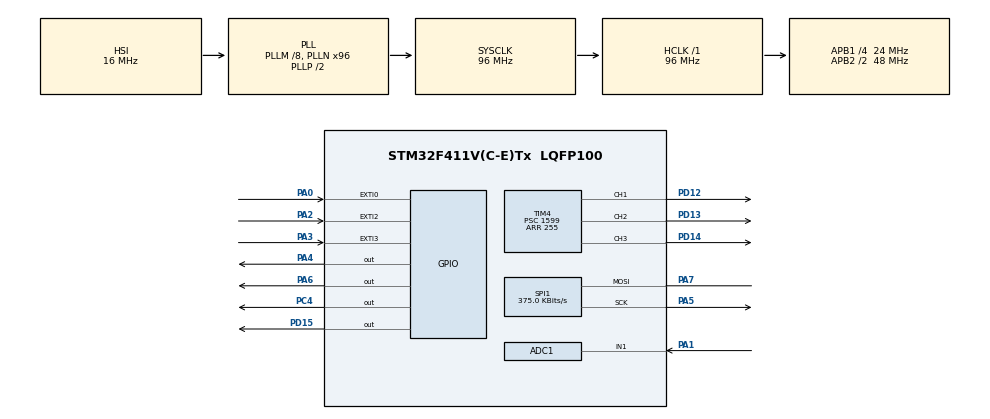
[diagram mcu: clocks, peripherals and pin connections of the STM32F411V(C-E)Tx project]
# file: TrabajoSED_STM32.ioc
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ADC1.Channel-0\#ChannelRegularConversion=ADC_CHANNEL_1
ADC1.NbrOfConversionFlag=1
ADC1.Rank-0\#ChannelRegularConversion=1
ADC1.Resolution=ADC_RESOLUTION_10B
ADC1.SamplingTime-0\#ChannelRegularConversion=ADC_SAMPLETIME_3CYCLES
ADC1.master=1
Mcu.Family=STM32F4
Mcu.Name=STM32F411V(C-E)Tx
Mcu.Package=LQFP100
NVIC.EXTI0_IRQn=true\:0\:0\:false\:false\:true\:true\:true\:true
NVIC.EXTI2_IRQn=true\:0\:0\:false\:false\:true\:true\:true\:true
NVIC.EXTI3_IRQn=true\:0\:0\:false\:false\:true\:true\:true\:true
NVIC.PriorityGroup=NVIC_PRIORITYGROUP_0
NVIC.RTC_Alarm_IRQn=true\:0\:0\:false\:false\:true\:true\:true\:true
NVIC.TIM3_IRQn=true\:0\:0\:false\:false\:true\:true\:true\:true
PA0-WKUP.Signal=GPXTI0
PA1.Signal=ADCx_IN1
PA2.Signal=GPXTI2
PA3.Signal=GPXTI3
PA4.Signal=GPIO_Output
PA5.Mode=Simplex_Bidirectional_Master
PA5.Signal=SPI1_SCK
PA6.Signal=GPIO_Output
PA7.Mode=Simplex_Bidirectional_Master
PA7.Signal=SPI1_MOSI
PC4.Signal=GPIO_Output
PD12.Signal=S_TIM4_CH1
PD13.Signal=S_TIM4_CH2
PD14.Signal=S_TIM4_CH3
PD15.Signal=GPIO_Output
ProjectManager.HeapSize=0x200
ProjectManager.StackSize=0x400
ProjectManager.TargetToolchain=STM32CubeIDE
RCC.48MHZClocksFreq_Value=24000000
RCC.AHBFreq_Value=96000000
RCC.APB1CLKDivider=RCC_HCLK_DIV4
RCC.APB1Freq_Value=24000000
RCC.APB1TimFreq_Value=48000000
RCC.APB2CLKDivider=RCC_HCLK_DIV2
RCC.APB2Freq_Value=48000000
RCC.APB2TimFreq_Value=96000000
RCC.CortexFreq_Value=96000000
RCC.HCLKFreq_Value=96000000
RCC.HSE_VALUE=8000000
RCC.HSI_VALUE=16000000
RCC.LSE_VALUE=32768
RCC.PLLI2SM=5
RCC.PLLI2SN=200
RCC.PLLM=8
RCC.PLLN=96
RCC.PLLQ=8
RCC.SYSCLKFreq_VALUE=96000000
RCC.SYSCLKSource=RCC_SYSCLKSOURCE_PLLCLK
RCC.VCOOutputFreq_Value=192000000
RTC.Alarm=RTC_ALARM_A
RTC.AlarmMaskDateWeekDay=RTC_ALARMMASK_DATEWEEKDAY
RTC.AlarmMaskSeconds=RTC_ALARMMASK_SECONDS
RTC.Format=RTC_FORMAT_BIN
SH.ADCx_IN1.0=ADC1_IN1,IN1
SH.S_TIM4_CH1.0=TIM4_CH1,PWM Generation1 CH1
SH.S_TIM4_CH2.0=TIM4_CH2,PWM Generation2 CH2
SH.S_TIM4_CH3.0=TIM4_CH3,PWM Generation3 CH3
SPI1.BaudRatePrescaler=SPI_BAUDRATEPRESCALER_128
SPI1.CalculateBaudRate=375.0 KBits/s
SPI1.Direction=SPI_DIRECTION_1LINE
SPI1.Mode=SPI_MODE_MASTER
SPI1.VirtualType=VM_MASTER
TIM3.Period=8000
TIM3.Prescaler=47999
TIM4.Channel-PWM\ Generation1\ CH1=TIM_CHANNEL_1
TIM4.Channel-PWM\ Generation2\ CH2=TIM_CHANNEL_2
TIM4.Channel-PWM\ Generation3\ CH3=TIM_CHANNEL_3
TIM4.Period=255
TIM4.Prescaler=1599
VP_RTC_VS_RTC_Activate.Mode=RTC_Enabled
VP_RTC_VS_RTC_Alarm_A_Intern.Mode=Alarm A
VP_RTC_VS_RTC_Calendar.Mode=RTC_Calendar
VP_TIM3_VS_ClockSourceINT.Mode=Internal
board=STM32F411E-DISCO

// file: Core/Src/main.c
/* USER CODE BEGIN Header */
/**
  ******************************************************************************
  * @file           : main.c
  * @brief          : Main program body
  ******************************************************************************
  * @attention
  *
  * Copyright (c) 2022 STMicroelectronics.
  * All rights reserved.
  *
  * This software is licensed under terms that can be found in the LICENSE file
  * in the root directory of this software component.
  * If no LICENSE file comes with this software, it is provided AS-IS.
  *
  ******************************************************************************
  */
/* USER CODE END Header */
#include "main.h"

/* USER CODE BEGIN Includes */
#include <string.h>
#include <stdio.h>
#include "st7735.h"
#include "fonts.h"
#include "testimg.h"
#include <malloc.h>
//#include "Menus.h"
/* USER CODE END Includes */

/* USER CODE BEGIN PTD */
RTC_TimeTypeDef sTime;
RTC_DateTypeDef sDate;
typedef enum {Manual = 0, Automatico_Humedad, Automatico_Tiempo} MODO;
typedef enum {Estado = 0, Modo_Actual, Cambio_Modo, Ajustes_Auto_Tiempo, Ajustes_Auto_Humedad} PANTALLA;
/* USER CODE END PTD */

/* USER CODE BEGIN PD */
#define ADC_HUMEDAD_MAX 850
#define ADC_HUMEDAD_MIN 735

//#define __DEBUG__
/* USER CODE END PD */

/* USER CODE BEGIN PM */
#define MIN(X, Y) (((X) < (Y)) ? (X) : (Y))
#define MAX(X, Y) (((X) > (Y)) ? (X) : (Y))
/* USER CODE END PM */

ADC_HandleTypeDef hadc1;

RTC_HandleTypeDef hrtc;

SPI_HandleTypeDef hspi1;

TIM_HandleTypeDef htim3;
TIM_HandleTypeDef htim4;

/* USER CODE BEGIN PV */
MODO modo;
PANTALLA pantalla;

uint8_t humedad_previa = 0;
uint8_t humedad = 0;

uint8_t humedad_minima = 40;
uint8_t humedad_maxima = 60;
uint8_t humedad_media = 50;

bool button0 = 0;
bool button1 = 0;
bool button2 = 0;
bool update_screen = 1;

bool isTimeToTurnOn = 1;

RTC_TimeTypeDef* alarmasON = 0;
RTC_TimeTypeDef* alarmasOFF = 0;

uint32_t num_alarmas = 0;
uint32_t siguiente_alarma = 0;
/* USER CODE END PV */

void SystemClock_Config(void);
static void MX_GPIO_Init(void);
static void MX_ADC1_Init(void);
static void MX_TIM4_Init(void);
static void MX_SPI1_Init(void);
static void MX_RTC_Init(void);
static void MX_TIM3_Init(void);
/* USER CODE BEGIN PFP */
void Led_Init();
uint8_t sensorHumedad();
void AbrirValvula();
void CerrarValvula();
void ControlAutomatico_Humedad();
void LED_ON_OFF(uint8_t humedad);
void WriteRGB(uint8_t R, uint8_t G, uint8_t B);

void modoHandler();
void menuHandler();

void printMenu_ModoActual();
void printMenu_CambioModo();

void printSeleccion(uint8_t altura);
void printAlarma(RTC_TimeTypeDef horaON, RTC_TimeTypeDef horaOFF, uint8_t altura);
void printCrearAlarma(uint8_t altura);
void printCambiarHora(uint8_t altura);
void printTime();
void printOK(uint8_t altura);
void printMenu_Estado();
void crearAlarma(RTC_TimeTypeDef* returnVal);
void CambiarHora();
void AjustarHumedad();

void nextAlarma();
/* USER CODE END PFP */

int main(void)
{

  /* MCU Configuration--------------------------------------------------------*/

  /* Reset of all peripherals, Initializes the Flash interface and the Systick. */
  HAL_Init();

  /* Configure the system clock */
  SystemClock_Config();

  /* Initialize all configured peripherals */
  MX_GPIO_Init();
  MX_ADC1_Init();
  MX_TIM4_Init();
  MX_SPI1_Init();
  MX_RTC_Init();
  MX_TIM3_Init();
  /* USER CODE BEGIN 2 */
  HAL_NVIC_DisableIRQ(RTC_Alarm_IRQn);
  HAL_TIM_Base_Start_IT(&htim3);
  Led_Init();
  ST7735_Init();
  printMenu_Estado();
  /* USER CODE END 2 */

  /* Infinite loop */
  /* USER CODE BEGIN WHILE */
  while (1)
  {
	  humedad = sensorHumedad();

	  modoHandler();
	  menuHandler();

	  LED_ON_OFF(humedad);
    /* USER CODE END WHILE */

  }
}

void SystemClock_Config(void)
{
  RCC_OscInitTypeDef RCC_OscInitStruct = {0};
  RCC_ClkInitTypeDef RCC_ClkInitStruct = {0};

  /** Configure the main internal regulator output voltage
  */
  __HAL_RCC_PWR_CLK_ENABLE();
  __HAL_PWR_VOLTAGESCALING_CONFIG(PWR_REGULATOR_VOLTAGE_SCALE1);

  /** Initializes the RCC Oscillators according to the specified parameters
  * in the RCC_OscInitTypeDef structure.
  */
  RCC_OscInitStruct.OscillatorType = RCC_OSCILLATORTYPE_HSI|RCC_OSCILLATORTYPE_LSI;
  RCC_OscInitStruct.HSIState = RCC_HSI_ON;
  RCC_OscInitStruct.HSICalibrationValue = RCC_HSICALIBRATION_DEFAULT;
  RCC_OscInitStruct.LSIState = RCC_LSI_ON;
  RCC_OscInitStruct.PLL.PLLState = RCC_PLL_ON;
  RCC_OscInitStruct.PLL.PLLSource = RCC_PLLSOURCE_HSI;
  RCC_OscInitStruct.PLL.PLLM = 8;
  RCC_OscInitStruct.PLL.PLLN = 96;
  RCC_OscInitStruct.PLL.PLLP = RCC_PLLP_DIV2;
  RCC_OscInitStruct.PLL.PLLQ = 8;
  if (HAL_RCC_OscConfig(&RCC_OscInitStruct) != HAL_OK)
  {
    Error_Handler();
  }

  /** Initializes the CPU, AHB and APB buses clocks
  */
  RCC_ClkInitStruct.ClockType = RCC_CLOCKTYPE_HCLK|RCC_CLOCKTYPE_SYSCLK
                              |RCC_CLOCKTYPE_PCLK1|RCC_CLOCKTYPE_PCLK2;
  RCC_ClkInitStruct.SYSCLKSource = RCC_SYSCLKSOURCE_PLLCLK;
  RCC_ClkInitStruct.AHBCLKDivider = RCC_SYSCLK_DIV1;
  RCC_ClkInitStruct.APB1CLKDivider = RCC_HCLK_DIV4;
  RCC_ClkInitStruct.APB2CLKDivider = RCC_HCLK_DIV2;

  if (HAL_RCC_ClockConfig(&RCC_ClkInitStruct, FLASH_LATENCY_3) != HAL_OK)
  {
    Error_Handler();
  }
}

static void MX_ADC1_Init(void)
{

  ADC_ChannelConfTypeDef sConfig = {0};

  /** Configure the global features of the ADC (Clock, Resolution, Data Alignment and number of conversion)
  */
  hadc1.Instance = ADC1;
  hadc1.Init.ClockPrescaler = ADC_CLOCK_SYNC_PCLK_DIV2;
  hadc1.Init.Resolution = ADC_RESOLUTION_10B;
  hadc1.Init.ScanConvMode = DISABLE;
  hadc1.Init.ContinuousConvMode = DISABLE;
  hadc1.Init.DiscontinuousConvMode = DISABLE;
  hadc1.Init.ExternalTrigConvEdge = ADC_EXTERNALTRIGCONVEDGE_NONE;
  hadc1.Init.ExternalTrigConv = ADC_SOFTWARE_START;
  hadc1.Init.DataAlign = ADC_DATAALIGN_RIGHT;
  hadc1.Init.NbrOfConversion = 1;
  hadc1.Init.DMAContinuousRequests = DISABLE;
  hadc1.Init.EOCSelection = ADC_EOC_SINGLE_CONV;
  if (HAL_ADC_Init(&hadc1) != HAL_OK)
  {
    Error_Handler();
  }

  /** Configure for the selected ADC regular channel its corresponding rank in the sequencer and its sample time.
  */
  sConfig.Channel = ADC_CHANNEL_1;
  sConfig.Rank = 1;
  sConfig.SamplingTime = ADC_SAMPLETIME_3CYCLES;
  if (HAL_ADC_ConfigChannel(&hadc1, &sConfig) != HAL_OK)
  {
    Error_Handler();
  }

}

static void MX_RTC_Init(void)
{

  RTC_TimeTypeDef sTime = {0};
  RTC_DateTypeDef sDate = {0};
  RTC_AlarmTypeDef sAlarm = {0};

  /** Initialize RTC Only
  */
  hrtc.Instance = RTC;
  hrtc.Init.HourFormat = RTC_HOURFORMAT_24;
  hrtc.Init.AsynchPrediv = 127;
  hrtc.Init.SynchPrediv = 255;
  hrtc.Init.OutPut = RTC_OUTPUT_DISABLE;
  hrtc.Init.OutPutPolarity = RTC_OUTPUT_POLARITY_HIGH;
  hrtc.Init.OutPutType = RTC_OUTPUT_TYPE_OPENDRAIN;
  if (HAL_RTC_Init(&hrtc) != HAL_OK)
  {
    Error_Handler();
  }

  /** Initialize RTC and set the Time and Date
  */
  sTime.Hours = 0;
  sTime.Minutes = 0;
  sTime.Seconds = 0;
  sTime.DayLightSaving = RTC_DAYLIGHTSAVING_NONE;
  sTime.StoreOperation = RTC_STOREOPERATION_RESET;
  if (HAL_RTC_SetTime(&hrtc, &sTime, RTC_FORMAT_BIN) != HAL_OK)
  {
    Error_Handler();
  }
  sDate.WeekDay = RTC_WEEKDAY_MONDAY;
  sDate.Month = RTC_MONTH_JANUARY;
  sDate.Date = 1;
  sDate.Year = 0;

  if (HAL_RTC_SetDate(&hrtc, &sDate, RTC_FORMAT_BIN) != HAL_OK)
  {
    Error_Handler();
  }

  /** Enable the Alarm A
  */
  sAlarm.AlarmTime.Hours = 0;
  sAlarm.AlarmTime.Minutes = 0;
  sAlarm.AlarmTime.Seconds = 0;
  sAlarm.AlarmTime.SubSeconds = 0;
  sAlarm.AlarmTime.DayLightSaving = RTC_DAYLIGHTSAVING_NONE;
  sAlarm.AlarmTime.StoreOperation = RTC_STOREOPERATION_RESET;
  sAlarm.AlarmMask = RTC_ALARMMASK_DATEWEEKDAY|RTC_ALARMMASK_SECONDS;
  sAlarm.AlarmSubSecondMask = RTC_ALARMSUBSECONDMASK_ALL;
  sAlarm.AlarmDateWeekDaySel = RTC_ALARMDATEWEEKDAYSEL_DATE;
  sAlarm.AlarmDateWeekDay = 1;
  sAlarm.Alarm = RTC_ALARM_A;
  if (HAL_RTC_SetAlarm_IT(&hrtc, &sAlarm, RTC_FORMAT_BIN) != HAL_OK)
  {
    Error_Handler();
  }

}

static void MX_SPI1_Init(void)
{

  /* SPI1 parameter configuration*/
  hspi1.Instance = SPI1;
  hspi1.Init.Mode = SPI_MODE_MASTER;
  hspi1.Init.Direction = SPI_DIRECTION_1LINE;
  hspi1.Init.DataSize = SPI_DATASIZE_8BIT;
  hspi1.Init.CLKPolarity = SPI_POLARITY_LOW;
  hspi1.Init.CLKPhase = SPI_PHASE_1EDGE;
  hspi1.Init.NSS = SPI_NSS_SOFT;
  hspi1.Init.BaudRatePrescaler = SPI_BAUDRATEPRESCALER_128;
  hspi1.Init.FirstBit = SPI_FIRSTBIT_MSB;
  hspi1.Init.TIMode = SPI_TIMODE_DISABLE;
  hspi1.Init.CRCCalculation = SPI_CRCCALCULATION_DISABLE;
  hspi1.Init.CRCPolynomial = 10;
  if (HAL_SPI_Init(&hspi1) != HAL_OK)
  {
    Error_Handler();
  }

}

static void MX_TIM3_Init(void)
{

  TIM_ClockConfigTypeDef sClockSourceConfig = {0};
  TIM_MasterConfigTypeDef sMasterConfig = {0};

  htim3.Instance = TIM3;
  htim3.Init.Prescaler = 47999;
  htim3.Init.CounterMode = TIM_COUNTERMODE_UP;
  htim3.Init.Period = 8000;
  htim3.Init.ClockDivision = TIM_CLOCKDIVISION_DIV1;
  htim3.Init.AutoReloadPreload = TIM_AUTORELOAD_PRELOAD_DISABLE;
  if (HAL_TIM_Base_Init(&htim3) != HAL_OK)
  {
    Error_Handler();
  }
  sClockSourceConfig.ClockSource = TIM_CLOCKSOURCE_INTERNAL;
  if (HAL_TIM_ConfigClockSource(&htim3, &sClockSourceConfig) != HAL_OK)
  {
    Error_Handler();
  }
  sMasterConfig.MasterOutputTrigger = TIM_TRGO_RESET;
  sMasterConfig.MasterSlaveMode = TIM_MASTERSLAVEMODE_DISABLE;
  if (HAL_TIMEx_MasterConfigSynchronization(&htim3, &sMasterConfig) != HAL_OK)
  {
    Error_Handler();
  }

}

static void MX_TIM4_Init(void)
{

  TIM_MasterConfigTypeDef sMasterConfig = {0};
  TIM_OC_InitTypeDef sConfigOC = {0};

  htim4.Instance = TIM4;
  htim4.Init.Prescaler = 1599;
  htim4.Init.CounterMode = TIM_COUNTERMODE_UP;
  htim4.Init.Period = 255;
  htim4.Init.ClockDivision = TIM_CLOCKDIVISION_DIV1;
  htim4.Init.AutoReloadPreload = TIM_AUTORELOAD_PRELOAD_DISABLE;
  if (HAL_TIM_PWM_Init(&htim4) != HAL_OK)
  {
    Error_Handler();
  }
  sMasterConfig.MasterOutputTrigger = TIM_TRGO_RESET;
  sMasterConfig.MasterSlaveMode = TIM_MASTERSLAVEMODE_DISABLE;
  if (HAL_TIMEx_MasterConfigSynchronization(&htim4, &sMasterConfig) != HAL_OK)
  {
    Error_Handler();
  }
  sConfigOC.OCMode = TIM_OCMODE_PWM1;
  sConfigOC.Pulse = 0;
  sConfigOC.OCPolarity = TIM_OCPOLARITY_HIGH;
  sConfigOC.OCFastMode = TIM_OCFAST_DISABLE;
  if (HAL_TIM_PWM_ConfigChannel(&htim4, &sConfigOC, TIM_CHANNEL_1) != HAL_OK)
  {
    Error_Handler();
  }
  if (HAL_TIM_PWM_ConfigChannel(&htim4, &sConfigOC, TIM_CHANNEL_2) != HAL_OK)
  {
    Error_Handler();
  }
  if (HAL_TIM_PWM_ConfigChannel(&htim4, &sConfigOC, TIM_CHANNEL_3) != HAL_OK)
  {
    Error_Handler();
  }
  HAL_TIM_MspPostInit(&htim4);

}

static void MX_GPIO_Init(void)
{
  GPIO_InitTypeDef GPIO_InitStruct = {0};

  /* GPIO Ports Clock Enable */
  __HAL_RCC_GPIOA_CLK_ENABLE();
  __HAL_RCC_GPIOC_CLK_ENABLE();
  __HAL_RCC_GPIOD_CLK_ENABLE();

  /*Configure GPIO pin Output Level */
  HAL_GPIO_WritePin(GPIOA, GPIO_PIN_4|GPIO_PIN_6, GPIO_PIN_RESET);

  /*Configure GPIO pin Output Level */
  HAL_GPIO_WritePin(GPIOC, GPIO_PIN_4, GPIO_PIN_RESET);

  /*Configure GPIO pin Output Level */
  HAL_GPIO_WritePin(GPIOD, GPIO_PIN_15, GPIO_PIN_RESET);

  /*Configure GPIO pins : PA0 PA2 PA3 */
  GPIO_InitStruct.Pin = GPIO_PIN_0|GPIO_PIN_2|GPIO_PIN_3;
  GPIO_InitStruct.Mode = GPIO_MODE_IT_RISING;
  GPIO_InitStruct.Pull = GPIO_NOPULL;
  HAL_GPIO_Init(GPIOA, &GPIO_InitStruct);

  /*Configure GPIO pins : PA4 PA6 */
  GPIO_InitStruct.Pin = GPIO_PIN_4|GPIO_PIN_6;
  GPIO_InitStruct.Mode = GPIO_MODE_OUTPUT_PP;
  GPIO_InitStruct.Pull = GPIO_NOPULL;
  GPIO_InitStruct.Speed = GPIO_SPEED_FREQ_LOW;
  HAL_GPIO_Init(GPIOA, &GPIO_InitStruct);

  /*Configure GPIO pin : PC4 */
  GPIO_InitStruct.Pin = GPIO_PIN_4;
  GPIO_InitStruct.Mode = GPIO_MODE_OUTPUT_PP;
  GPIO_InitStruct.Pull = GPIO_NOPULL;
  GPIO_InitStruct.Speed = GPIO_SPEED_FREQ_LOW;
  HAL_GPIO_Init(GPIOC, &GPIO_InitStruct);

  /*Configure GPIO pin : PD15 */
  GPIO_InitStruct.Pin = GPIO_PIN_15;
  GPIO_InitStruct.Mode = GPIO_MODE_OUTPUT_PP;
  GPIO_InitStruct.Pull = GPIO_NOPULL;
  GPIO_InitStruct.Speed = GPIO_SPEED_FREQ_LOW;
  HAL_GPIO_Init(GPIOD, &GPIO_InitStruct);

  /* EXTI interrupt init*/
  HAL_NVIC_SetPriority(EXTI0_IRQn, 0, 0);
  HAL_NVIC_EnableIRQ(EXTI0_IRQn);

  HAL_NVIC_SetPriority(EXTI2_IRQn, 0, 0);
  HAL_NVIC_EnableIRQ(EXTI2_IRQn);

  HAL_NVIC_SetPriority(EXTI3_IRQn, 0, 0);
  HAL_NVIC_EnableIRQ(EXTI3_IRQn);

}

/* USER CODE BEGIN 4 */

/*****************
 *INICIALIZADORES*
 *****************/

//Inicializa los temporizadores necesarios para controlar
//el led RGB a través de PWM
void Led_Init(){
	HAL_TIM_PWM_Start(&htim4, TIM_CHANNEL_1);
	HAL_TIM_PWM_Start(&htim4, TIM_CHANNEL_2);
	HAL_TIM_PWM_Start(&htim4, TIM_CHANNEL_3);
}

/**********************
 *FUNCIONES AUXILIARES*
 **********************/

//Lee el valor del ADC y lo transforma en un valor de humedad comprendido entre 0 y 100
//a través de un entero sin signo de 8 bits
uint8_t sensorHumedad(){
	uint8_t valor_porc_sens = 0;
	HAL_ADC_Start(&hadc1);

	if (HAL_ADC_PollForConversion(&hadc1,HAL_MAX_DELAY)==HAL_OK)
	{
		uint16_t ADC_val=HAL_ADC_GetValue(&hadc1);
		ADC_val = ADC_val > ADC_HUMEDAD_MAX ? ADC_HUMEDAD_MAX : ADC_val < ADC_HUMEDAD_MIN ? ADC_HUMEDAD_MIN : ADC_val;
		valor_porc_sens=100-(((ADC_val-ADC_HUMEDAD_MIN)*100)/(ADC_HUMEDAD_MAX-ADC_HUMEDAD_MIN));
	}
	HAL_ADC_Stop(&hadc1);
	return valor_porc_sens;
}

//Abre la válvula
void AbrirValvula(){
	HAL_GPIO_WritePin(GPIOD,GPIO_PIN_15,1);
}

//Cierra la válvula
void CerrarValvula(){
	HAL_GPIO_WritePin(GPIOD,GPIO_PIN_15,0);
}

//Cambia el color del LED RGB según la humedad medida una vez cada 0.1s
void LED_ON_OFF(uint8_t humedad)
{
	static uint32_t last_time = 0;
	if(HAL_GetTick() < last_time + 100){
		return;
	}

	if(humedad < humedad_minima){
		uint8_t R = 255-(humedad*128/humedad_minima);
		uint8_t G = (humedad*127/humedad_minima);
		uint8_t B = 0;
		WriteRGB(R, G, B);
	}
	else if(humedad < humedad_media){
		uint8_t R = 127-((humedad-humedad_minima)*127/(humedad_media-humedad_minima));
		uint8_t G = 127+((humedad-humedad_minima)*128/(humedad_media-humedad_minima));
		uint8_t B = 0;
		WriteRGB(R, G, B);
	}
	else if(humedad < humedad_maxima){
		uint8_t R = 0;
		uint8_t G = 127+((humedad_maxima-humedad)*128/(humedad_maxima-humedad_media));
		uint8_t B = (humedad-humedad_media)*127/(humedad_maxima-humedad_media);
		WriteRGB(R, G, B);
	}
	else{
		uint8_t R = 0;
		uint8_t G = (100-humedad)*127/(100-humedad_maxima);
		uint8_t B = 127+((humedad-humedad_maxima)*127/(100-humedad_maxima));
		WriteRGB(R, G, B);
	}

	last_time = HAL_GetTick();
}

//Recibe un valor RGB y lo representa en el LED
void WriteRGB(uint8_t R, uint8_t G, uint8_t B){
	__HAL_TIM_SET_COMPARE(&htim4, TIM_CHANNEL_1, 255-R);
	__HAL_TIM_SET_COMPARE(&htim4, TIM_CHANNEL_2, 255-G);
	__HAL_TIM_SET_COMPARE(&htim4, TIM_CHANNEL_3, 255-B);
}

/********************
 *GESTIÓN DE ESTADOS*
 ********************/

//Determina qué funciones de operación llamar según el modo de trabajo en el que se encuetre el sistema
void modoHandler(){
	switch(modo){
	case Manual:
		//Gestionado por interrupciones externas. Ver: void HAL_GPIO_EXTI_Callback(uint16_t GPIO_Pin)
		break;
	case Automatico_Humedad:
		ControlAutomatico_Humedad();
		break;
	case Automatico_Tiempo:
		//Gestionado por interrupciones del RTC. Ver: void HAL_RTC_AlarmAEventCallback(RTC_HandleTypeDef *hrtc)
		break;
	default:
		modo = Manual;
		break;
	}
}

//Gestiona la interfaz que se representa en la pantalla
//
//Si se encuentra en la pantalla de estado comprueba si esta debe ser actualizada, de lo contrario, finaliza su ejecución.
//Si se encuentra en otra pantalla desactiva las interrupciones de los botones, ya que en este estado esta se hace por
//polling y gestiona la interfaz en función de en qué pantalla se encuentra.
//Tiene una variable estática "selección" que permite recordar cuál de las opciones de cada menú está eligiendo el usuario
void menuHandler(){
	static uint32_t seleccion = 0;
	if(pantalla == Estado){
		if((humedad < humedad_minima && !(humedad_previa < humedad_minima)) || (humedad > humedad_minima && !(humedad_previa > humedad_minima)) || (humedad < humedad_maxima && !(humedad_previa < humedad_maxima)) || (humedad > humedad_maxima && !(humedad_previa > humedad_maxima))){
			update_screen = 1;
		}
		if(update_screen){
			printMenu_Estado();
			update_screen = 0;
		}
		humedad_previa = humedad;
		return;
	}
	HAL_NVIC_DisableIRQ(EXTI0_IRQn);
	HAL_NVIC_DisableIRQ(EXTI2_IRQn);
	HAL_NVIC_DisableIRQ(EXTI3_IRQn);

	switch(pantalla){
	case Modo_Actual:
		//Muestra el modo en el que el sistema se encuentra operando en el momento
		//Si el usuario presiona el botón de la derecha pasa a la pantalla de
		//elección de modo
		if(update_screen){
			printMenu_ModoActual();
			update_screen = 0;
		}
		if(HAL_GPIO_ReadPin(GPIOA, GPIO_PIN_3) == 1 && button2 == 0){
			seleccion = 0;
			pantalla = Cambio_Modo;
			update_screen = 1;__HAL_TIM_SET_COUNTER(&htim3, 0);
		}
		button0 = HAL_GPIO_ReadPin(GPIOA, GPIO_PIN_0);
		button1 = HAL_GPIO_ReadPin(GPIOA, GPIO_PIN_2);
		button2 = HAL_GPIO_ReadPin(GPIOA, GPIO_PIN_3);
		break;
	case Cambio_Modo:
		//Muestra los 3 modos de operación disponibles en la pantalla
		//y marca con un recuadro verde el seleccionado.
		//Con los dos botones izquierdos el usuario puede modificar su selección
		//Con el botón de la derecha el usuario hace efectiva su elección
		//Y a través de un switch case se decide la próxima pantalla a la que
		//debe pasar
		if(update_screen){
			printMenu_CambioModo();
			printSeleccion(seleccion);
			update_screen = 0;
		}
		if(HAL_GPIO_ReadPin(GPIOA, GPIO_PIN_2) == 1 && button0 == 0){
			seleccion = seleccion==2?2:seleccion+1;
			update_screen = 1;__HAL_TIM_SET_COUNTER(&htim3, 0);
		}
		if(HAL_GPIO_ReadPin(GPIOA, GPIO_PIN_0) == 1 && button1 == 0){
			seleccion = seleccion==0?0:seleccion-1;
			update_screen = 1;__HAL_TIM_SET_COUNTER(&htim3, 0);
		}
		if(HAL_GPIO_ReadPin(GPIOA, GPIO_PIN_3) == 1 && button2 == 0){
			switch(seleccion){
			case Automatico_Tiempo:
				pantalla = Ajustes_Auto_Tiempo;
				break;
			case Automatico_Humedad:
				pantalla = Ajustes_Auto_Humedad;
				break;
			default:
				modo = Manual;
				pantalla = Estado;
				printMenu_Estado();
				HAL_NVIC_EnableIRQ(EXTI0_IRQn);
				HAL_NVIC_EnableIRQ(EXTI2_IRQn);
				HAL_NVIC_EnableIRQ(EXTI3_IRQn);
				HAL_NVIC_DisableIRQ(RTC_Alarm_IRQn);
				break;
			}
			update_screen = 1;__HAL_TIM_SET_COUNTER(&htim3, 0);
			seleccion = 0;
		}
		button0 = HAL_GPIO_ReadPin(GPIOA, GPIO_PIN_0);
		button1 = HAL_GPIO_ReadPin(GPIOA, GPIO_PIN_2);
		button2 = HAL_GPIO_ReadPin(GPIOA, GPIO_PIN_3);
		break;
	case Ajustes_Auto_Tiempo:
		//Muestra las alarmas creadas y permite al usuario desplazarse por ellas usando
		//los dos botones de la izquierda, al final de las alarmas se muestran los botones
		//para crear una nueva alarma, para aceptar y hacer efectiva la elección de modo
		//y para cambiar la hora del dispositivo.
		if(update_screen){
			ST7735_FillScreenFast(ST7735_CYAN);
			if(alarmasON != 0)
			{
				//Si hay alarmas creadas, imprime en pantalla las alarmas desde [seleccion] hasta
				//[seleccion+2], en caso de que no existan suficientes alarmas, imprime los botones
				//extra que sean necesarios ("crear alarma", "OK" y "cambiar hora").
				if(seleccion <= num_alarmas){
					for(uint8_t i = 0; i < MIN(num_alarmas-seleccion, 3); i++){
						printAlarma(alarmasON[i], alarmasOFF[i], i);
					}
					if(num_alarmas-seleccion < 3){
						printCrearAlarma(num_alarmas-seleccion);
					}
					if(num_alarmas-seleccion < 2){
						printOK(num_alarmas-seleccion+1);
					}
					if(num_alarmas-seleccion < 1){
						printCambiarHora(num_alarmas-seleccion+2);
					}
				}
				else if(seleccion == num_alarmas+1){
					printOK(0);
					printCambiarHora(1);
				}
				else{
					printCambiarHora(0);
				}
			}
			else
			{
				//Si no hay alarmas creadas, solamente muestra los botones de crear alarma y
				//cambio de hora.
				if(seleccion == 0){
					printCrearAlarma(0);
					printCambiarHora(1);
				}
				else{
					printCambiarHora(0);
				}
			}
			printSeleccion(0);
			update_screen = 0;
		}
		//Navegación por el menú de alarmas
		if(HAL_GPIO_ReadPin(GPIOA, GPIO_PIN_2) == 1 && button0 == 0){
			if(alarmasON == 0){
				seleccion = num_alarmas+2;
			}
			else
			{
				seleccion = seleccion>=num_alarmas+2?num_alarmas+2:seleccion+1;
			}
			update_screen = 1;__HAL_TIM_SET_COUNTER(&htim3, 0);
		}
		if(HAL_GPIO_ReadPin(GPIOA, GPIO_PIN_0) == 1 && button1 == 0){
			if(alarmasON == 0){
				seleccion = 0;
			}
			else
			{
				seleccion = seleccion==0?0:seleccion-1;
			}
			update_screen = 1;__HAL_TIM_SET_COUNTER(&htim3, 0);
		}
		//Selección
		if(HAL_GPIO_ReadPin(GPIOA, GPIO_PIN_3) == 1 && button2 == 0){
			if(seleccion >= num_alarmas + 2){
				//Si el usuario está seleccionando el botón de cambio de hora
				CambiarHora();
			}
			else if(seleccion == num_alarmas + 1)
			{
				//Si el usuario está seleccionando el botón de "OK" activa las interrupciones y genera la próxima
				modo = Automatico_Tiempo;
				pantalla = Estado;
				printMenu_Estado();
				__HAL_RTC_ALARM_CLEAR_FLAG(&hrtc, RTC_FLAG_ALRAF); //Se borra el flag de interrupciones del RTC para evitar comportamientos inesperados
				HAL_NVIC_EnableIRQ(EXTI3_IRQn);
				HAL_NVIC_EnableIRQ(RTC_Alarm_IRQn);
				nextAlarma();
			}
			else if(seleccion == num_alarmas)
			{
				//Si el usuario está seleccionando el botón de crear una nueva alarma lo envía a la función
				//"crearAlarma" que proporciona la interfaz necesaria para hacerlo, reasigna la memoria dinámicamente
				//y añade la nueva alarma al vector de alarmas de encendido y apagado
				RTC_TimeTypeDef nueva_alarma[2];
				crearAlarma(nueva_alarma);
				RTC_TimeTypeDef ON  = nueva_alarma[0];
				RTC_TimeTypeDef OFF = nueva_alarma[1];

				if(num_alarmas == 0){
					alarmasON  = (RTC_TimeTypeDef*)malloc(sizeof(RTC_TimeTypeDef));
					alarmasOFF = (RTC_TimeTypeDef*)malloc(sizeof(RTC_TimeTypeDef));

					if(alarmasON == NULL || alarmasOFF == NULL){
						Error_Handler();
					}

					alarmasON[0] = ON;
					alarmasOFF[0] = OFF;

					num_alarmas++;
				}
				else{
					alarmasON = realloc(alarmasON, (num_alarmas+1)*sizeof(RTC_TimeTypeDef));
					alarmasOFF = realloc(alarmasOFF, (num_alarmas+1)*sizeof(RTC_TimeTypeDef));

					if(alarmasON == NULL || alarmasOFF == NULL){
						Error_Handler();
					}
					alarmasON[num_alarmas] = ON;
					alarmasOFF[num_alarmas] = OFF;

					num_alarmas++;
				}
			}
			else{
				//Si el usuario está seleccionando una alarma cualquiera, entonces esta se elimina
				//Y se reasigna la memoria de forma adecuada
				if(num_alarmas == 1){
					free(alarmasON);
					free(alarmasOFF);
					alarmasON = 0;
					alarmasOFF = 0;
				}
				else{
					RTC_TimeTypeDef* alarmasTemp = malloc((num_alarmas-1)*sizeof(RTC_TimeTypeDef));
					if(alarmasTemp == NULL){
						Error_Handler();
					}
					for(uint32_t i = 0; i < num_alarmas-1; i++){
						alarmasTemp[i] = alarmasON[i+((uint32_t)i>=seleccion)];
					}
					free(alarmasON);
					alarmasON = alarmasTemp;

					alarmasTemp = malloc((num_alarmas-1)*sizeof(RTC_TimeTypeDef));
					if(alarmasTemp == NULL){
						Error_Handler();
					}
					for(uint32_t i = 0; i < num_alarmas-1; i++){
						alarmasTemp[i] = alarmasOFF[i+((uint32_t)i>=seleccion)];
					}
					free(alarmasOFF);
					alarmasOFF = alarmasTemp;

					num_alarmas--;
				}
			}
			update_screen = 1;__HAL_TIM_SET_COUNTER(&htim3, 0);
		}
		button0 = HAL_GPIO_ReadPin(GPIOA, GPIO_PIN_0);
		button1 = HAL_GPIO_ReadPin(GPIOA, GPIO_PIN_2);
		button2 = HAL_GPIO_ReadPin(GPIOA, GPIO_PIN_3);
		break;
	case Ajustes_Auto_Humedad:
		//Muestra al usuario los ajustes de humedad almacenados y le permite modificarlos antes de activar
		//el modo automático
		AjustarHumedad();
		modo = Automatico_Humedad;
		pantalla = Estado;
		printMenu_Estado();
		HAL_NVIC_EnableIRQ(EXTI3_IRQn);
		HAL_NVIC_DisableIRQ(RTC_Alarm_IRQn);
		break;
	default:
		//Por defecto se asigna al modo manual
		modo = Manual;
		pantalla = Estado;
		printMenu_Estado();
		HAL_NVIC_EnableIRQ(EXTI0_IRQn);
		HAL_NVIC_EnableIRQ(EXTI2_IRQn);
		HAL_NVIC_EnableIRQ(EXTI3_IRQn);
		HAL_NVIC_DisableIRQ(RTC_Alarm_IRQn);
	}
}

/********************
 *AUTOMÁTICO HUMEDAD*
 ********************/
//	Control automático de riego basado en la humedad de la tierra
//
//Si la humedad medida cae por debajo de la mínima, se abre la válvula, permitiendo al agua pasar
//Si la humedad medida supera la máxima entonces cierra la válvula para evitar liberar más agua
void ControlAutomatico_Humedad()
{
	if (humedad >= humedad_maxima){
		CerrarValvula();
	}
	else if(humedad <= humedad_minima){
		AbrirValvula();
	}
}

//Esta función permite al usuario ajustar los valores de humedad mínima y máxima entre
//los que quiere se se mantenga la planta en el modo "Automático Humedad".
//
//Primero se ajusta el valor de humedad mínimo incrementando y decrementando su valor a
//través de los dos botones de la izquierda. Si este disminuye de 0, regresa a 100; y si
//supera 100, regresa a 0.
//El mismo proceso se repite para el ajuste del valor máximo, con la diferencia de que este
//no puede ser menor al valor mínimo previamnte elegido.
//La lectura de los botones se hace por polling dentro de un bucle infinito el cual se rompe
//con el botón de la derecha permitiendo continuar con el resto del código
void AjustarHumedad(){

	update_screen = 1;__HAL_TIM_SET_COUNTER(&htim3, 0);
	ST7735_FillScreenFast(ST7735_CYAN);
	ST7735_WriteString(16, 10, "MINIMO", Font_16x26, ST7735_BLACK, ST7735_WHITE);
	char valor[4];
	while(true){ //Selección de humedad minima
		if(update_screen){
			sprintf(valor,"%02d%c",humedad_minima,37);
			ST7735_WriteString(47, 40, valor, Font_11x18, ST7735_BLACK, ST7735_WHITE);
		}
		if(HAL_GPIO_ReadPin(GPIOA, GPIO_PIN_0) == 1 && button0 == 0){
			if(humedad_minima == 100){
				humedad_minima = 0;
				ST7735_FillScreenFast(ST7735_CYAN);
				ST7735_WriteString(16, 10, "MINIMO", Font_16x26, ST7735_BLACK, ST7735_WHITE);
			}
			else{
				humedad_minima++;
			}
			update_screen = 1;__HAL_TIM_SET_COUNTER(&htim3, 0);
		}
		if(HAL_GPIO_ReadPin(GPIOA, GPIO_PIN_2) == 1 && button1 == 0){
			if(humedad_minima == 100){
				ST7735_FillScreenFast(ST7735_CYAN);
				ST7735_WriteString(16, 10, "MINIMO", Font_16x26, ST7735_BLACK, ST7735_WHITE);
			}
			if(humedad_minima == 0){
				humedad_minima = 100;
			}
			else{
				humedad_minima--;
			}
			update_screen = 1;__HAL_TIM_SET_COUNTER(&htim3, 0);
		}
		if(HAL_GPIO_ReadPin(GPIOA, GPIO_PIN_3) == 1 && button2 == 0){
			button2 = 1;
			break;
		}
		button0 = HAL_GPIO_ReadPin(GPIOA, GPIO_PIN_0);
		button1 = HAL_GPIO_ReadPin(GPIOA, GPIO_PIN_2);
		button2 = HAL_GPIO_ReadPin(GPIOA, GPIO_PIN_3);
	}
	ST7735_FillScreenFast(ST7735_CYAN);
	ST7735_WriteString(16, 10, "MAXIMO", Font_16x26, ST7735_BLACK, ST7735_WHITE);
	while(true){ //Selección de humedad maxima
		if(update_screen){
			sprintf(valor,"%02d%c",humedad_maxima,37);
			ST7735_WriteString(47, 40, valor, Font_11x18, ST7735_BLACK, ST7735_WHITE);
		}
		if(HAL_GPIO_ReadPin(GPIOA, GPIO_PIN_0) == 1 && button0 == 0){
			if(humedad_maxima == 100){
				humedad_maxima = humedad_minima;
				ST7735_FillScreenFast(ST7735_CYAN);
				ST7735_WriteString(16, 10, "MAXIMO", Font_16x26, ST7735_BLACK, ST7735_WHITE);
			}
			else{
				humedad_maxima++;
			}
			update_screen = 1;__HAL_TIM_SET_COUNTER(&htim3, 0);
		}
		if(HAL_GPIO_ReadPin(GPIOA, GPIO_PIN_2) == 1 && button1 == 0){
			if(humedad_maxima == 100){
				ST7735_FillScreenFast(ST7735_CYAN);
				ST7735_WriteString(16, 10, "MAXIMO", Font_16x26, ST7735_BLACK, ST7735_WHITE);
			}
			if(humedad_maxima <= humedad_minima){
				humedad_maxima = 100;
			}
			else{
				humedad_maxima--;
			}
			update_screen = 1;__HAL_TIM_SET_COUNTER(&htim3, 0);
		}
		if(HAL_GPIO_ReadPin(GPIOA, GPIO_PIN_3) == 1 && button2 == 0){
			button2 = 1;
			break;
		}
		button0 = HAL_GPIO_ReadPin(GPIOA, GPIO_PIN_0);
		button1 = HAL_GPIO_ReadPin(GPIOA, GPIO_PIN_2);
		button2 = HAL_GPIO_ReadPin(GPIOA, GPIO_PIN_3);
	}
	humedad_media = (humedad_minima+humedad_maxima)/2;
}

/*******************
 *AUTOMÁTICO TIEMPO*
 *******************/

//Esta función permite al usuario crear una nueva alarma de encendido y apagado
//
//Para esto crea una variable "ON" y otra "OFF" en las que se almacenarán la hora de encendido
//y apagado de la alarma
//Primero permite al usuario incrementar y decrementar el valor de la hora de encendido usando
//los dos botones de la izquierda. Si supera 23h, regresa a 0; si va por debajo de 0, sube a 23.
//Una vez que presiona el botón de la derecha pasa al ajuste de minutos que funciona de la
//misma forma.
//Una vez ajustado correctamente el tiempo de inicio, se repite el proceso pero con la hora de
//apagado.
//La lectura de los botones se hace por polling, cad sección se encuentra dentro de un bucle
//infinito el cual el botón de la derecha rompe para pasar a la siguiente sección de código.
//Una vez que se han elegido valores para la hora y los minutos de encendido y apagado, se
//almacenan ambos datos en el puntero que se recibió como parámetro.
void crearAlarma(RTC_TimeTypeDef* returnVal){
	update_screen = 1;__HAL_TIM_SET_COUNTER(&htim3, 0);
	RTC_TimeTypeDef ON = {0};
	RTC_TimeTypeDef OFF = {0};
	ST7735_FillScreenFast(ST7735_CYAN);
	ST7735_WriteString(48, 10, "ON", Font_16x26, ST7735_BLACK, ST7735_WHITE);
	char alarma[6];
	while(true){ //Selección de hora de encendido
		if(update_screen){
			sprintf(alarma,"%02d:%02d",ON.Hours,ON.Minutes);
			ST7735_WriteString(36, 30, alarma, Font_11x18, ST7735_BLACK, ST7735_WHITE);
		}
		if(HAL_GPIO_ReadPin(GPIOA, GPIO_PIN_0) == 1 && button0 == 0){
			if(ON.Hours == 23){
				ON.Hours = 0;
			}
			else{
				ON.Hours++;
			}
			update_screen = 1;__HAL_TIM_SET_COUNTER(&htim3, 0);
		}
		if(HAL_GPIO_ReadPin(GPIOA, GPIO_PIN_2) == 1 && button1 == 0){
			if(ON.Hours == 0){
				ON.Hours = 23;
			}
			else{
				ON.Hours--;
			}
			update_screen = 1;__HAL_TIM_SET_COUNTER(&htim3, 0);
		}
		if(HAL_GPIO_ReadPin(GPIOA, GPIO_PIN_3) == 1 && button2 == 0){
			button2 = 1;
			break;
		}
		button0 = HAL_GPIO_ReadPin(GPIOA, GPIO_PIN_0);
		button1 = HAL_GPIO_ReadPin(GPIOA, GPIO_PIN_2);
		button2 = HAL_GPIO_ReadPin(GPIOA, GPIO_PIN_3);
	}
	while(true){ //Selección de minuto de encendido
		if(update_screen){
			sprintf(alarma,"%02d:%02d",ON.Hours,ON.Minutes);
			ST7735_WriteString(36, 30, alarma, Font_11x18, ST7735_BLACK, ST7735_WHITE);
		}
		if(HAL_GPIO_ReadPin(GPIOA, GPIO_PIN_0) == 1 && button0 == 0){
			if(ON.Minutes == 59){
				ON.Minutes = 0;
			}
			else{
				ON.Minutes++;
			}
			update_screen = 1;__HAL_TIM_SET_COUNTER(&htim3, 0);
		}
		if(HAL_GPIO_ReadPin(GPIOA, GPIO_PIN_2) == 1 && button1 == 0){
			if(ON.Minutes == 0){
				ON.Minutes = 59;
			}
			else{
				ON.Minutes--;
			}
			update_screen = 1;__HAL_TIM_SET_COUNTER(&htim3, 0);
		}
		if(HAL_GPIO_ReadPin(GPIOA, GPIO_PIN_3) == 1 && button2 == 0){
			button2 = 1;
			break;
		}
		button0 = HAL_GPIO_ReadPin(GPIOA, GPIO_PIN_0);
		button1 = HAL_GPIO_ReadPin(GPIOA, GPIO_PIN_2);
		button2 = HAL_GPIO_ReadPin(GPIOA, GPIO_PIN_3);
	}
	ST7735_FillScreenFast(ST7735_CYAN);
	ST7735_WriteString(40, 10, "OFF", Font_16x26, ST7735_BLACK, ST7735_WHITE);
	while(true){ //Selección de hora de apagado
		if(update_screen){
			sprintf(alarma,"%02d.%02d",OFF.Hours,OFF.Minutes);
			ST7735_WriteString(36, 30, alarma, Font_11x18, ST7735_BLACK, ST7735_WHITE);
		}
		if(HAL_GPIO_ReadPin(GPIOA, GPIO_PIN_0) == 1 && button0 == 0){
			if(OFF.Hours == 23){
				OFF.Hours = 0;
			}
			else{
				OFF.Hours++;
			}
			update_screen = 1;__HAL_TIM_SET_COUNTER(&htim3, 0);
		}
		if(HAL_GPIO_ReadPin(GPIOA, GPIO_PIN_2) == 1 && button1 == 0){
			if(OFF.Hours == 0){
				OFF.Hours = 23;
			}
			else{
				OFF.Hours--;
			}
			update_screen = 1;__HAL_TIM_SET_COUNTER(&htim3, 0);
		}
		if(HAL_GPIO_ReadPin(GPIOA, GPIO_PIN_3) == 1 && button2 == 0){
			button2 = 1;
			break;
		}
		button0 = HAL_GPIO_ReadPin(GPIOA, GPIO_PIN_0);
		button1 = HAL_GPIO_ReadPin(GPIOA, GPIO_PIN_2);
		button2 = HAL_GPIO_ReadPin(GPIOA, GPIO_PIN_3);
	}
	while(true){ //Selección de minuto de apagado
		if(update_screen){
			sprintf(alarma,"%02d.%02d",OFF.Hours,OFF.Minutes);
			ST7735_WriteString(36, 30, alarma, Font_11x18, ST7735_BLACK, ST7735_WHITE);
		}
		if(HAL_GPIO_ReadPin(GPIOA, GPIO_PIN_0) == 1 && button0 == 0){
			if(OFF.Minutes == 59){
				OFF.Minutes = 0;
			}
			else{
				OFF.Minutes++;
			}
			update_screen = 1;__HAL_TIM_SET_COUNTER(&htim3, 0);
		}
		if(HAL_GPIO_ReadPin(GPIOA, GPIO_PIN_2) == 1 && button1 == 0){
			if(OFF.Minutes == 0){
				OFF.Minutes = 59;
			}
			else{
				OFF.Minutes--;
			}
			update_screen = 1;__HAL_TIM_SET_COUNTER(&htim3, 0);
		}
		if(HAL_GPIO_ReadPin(GPIOA, GPIO_PIN_3) == 1 && button2 == 0){
			button2 = 1;
			break;
		}
		button0 = HAL_GPIO_ReadPin(GPIOA, GPIO_PIN_0);
		button1 = HAL_GPIO_ReadPin(GPIOA, GPIO_PIN_2);
		button2 = HAL_GPIO_ReadPin(GPIOA, GPIO_PIN_3);
	}
	returnVal[0] = ON;
	returnVal[1] = OFF;
}

//Esta función permite al usuario cambiar la hora del sistema
//
//Para esto crea una variable "Time" con los datos de la hora actual registrada en el sistema
//y la muestra en pantalla.
//Primero permite al usuario incrementar y decrementar su valor usando los dos botones de la
//izquierda. Si supera 23h, regresa a 0; si va por debajo de 0, sube a 23.
//Una vez que presiona el botón de la izquierda pasa al cambio de minutos que funciona de la
//misma forma.
//La lectura de los botones se hace por polling, cad sección se encuentra dentro de un bucle
//infinito el cual el botón de la derecha rompe para pasar a la siguiente sección de código.
//Una vez que se han elegido valores para la hora y los minutos se guarda el valor de la
//variable Time en el RTC
void CambiarHora(){
	update_screen = 1;__HAL_TIM_SET_COUNTER(&htim3, 0);
	RTC_TimeTypeDef Time = sTime;
	ST7735_FillScreenFast(ST7735_CYAN);
	ST7735_WriteString(42, 10, "Hora", Font_16x26, ST7735_BLACK, ST7735_WHITE);
	char hora[6];
	while(true){ //Selección de hora de encendido
		if(update_screen){
			sprintf(hora,"%02d:%02d",Time.Hours,Time.Minutes);
			ST7735_WriteString(36, 40, hora, Font_11x18, ST7735_BLACK, ST7735_WHITE);
		}
		if(HAL_GPIO_ReadPin(GPIOA, GPIO_PIN_0) == 1 && button0 == 0){
			if(Time.Hours == 23){
				Time.Hours = 0;
			}
			else{
				Time.Hours++;
			}
			update_screen = 1;__HAL_TIM_SET_COUNTER(&htim3, 0);
		}
		if(HAL_GPIO_ReadPin(GPIOA, GPIO_PIN_2) == 1 && button1 == 0){
			if(Time.Hours == 0){
				Time.Hours = 23;
			}
			else{
				Time.Hours--;
			}
			update_screen = 1;__HAL_TIM_SET_COUNTER(&htim3, 0);
		}
		if(HAL_GPIO_ReadPin(GPIOA, GPIO_PIN_3) == 1 && button2 == 0){
			button2 = 1;
			break;
		}
		button0 = HAL_GPIO_ReadPin(GPIOA, GPIO_PIN_0);
		button1 = HAL_GPIO_ReadPin(GPIOA, GPIO_PIN_2);
		button2 = HAL_GPIO_ReadPin(GPIOA, GPIO_PIN_3);
	}
	while(true){ //Selección de minuto de encendido
		if(update_screen){
			sprintf(hora,"%02d:%02d",Time.Hours,Time.Minutes);
			ST7735_WriteString(36, 40, hora, Font_11x18, ST7735_BLACK, ST7735_WHITE);
		}
		if(HAL_GPIO_ReadPin(GPIOA, GPIO_PIN_0) == 1 && button0 == 0){
			if(Time.Minutes == 59){
				Time.Minutes = 0;
			}
			else{
				Time.Minutes++;
			}
			update_screen = 1;__HAL_TIM_SET_COUNTER(&htim3, 0);
		}
		if(HAL_GPIO_ReadPin(GPIOA, GPIO_PIN_2) == 1 && button1 == 0){
			if(Time.Minutes == 0){
				Time.Minutes = 59;
			}
			else{
				Time.Minutes--;
			}
			update_screen = 1;__HAL_TIM_SET_COUNTER(&htim3, 0);
		}
		if(HAL_GPIO_ReadPin(GPIOA, GPIO_PIN_3) == 1 && button2 == 0){
			button2 = 1;
			break;
		}
		button0 = HAL_GPIO_ReadPin(GPIOA, GPIO_PIN_0);
		button1 = HAL_GPIO_ReadPin(GPIOA, GPIO_PIN_2);
		button2 = HAL_GPIO_ReadPin(GPIOA, GPIO_PIN_3);
	}
	HAL_RTC_SetTime(&hrtc, &Time, RTC_FORMAT_BIN);
}

/************************
 *CONTROL DE LA PANTALLA*
 ************************/

/*Menús*/

//Pantalla de inicio que muestra información sobre el nivel de humedad y la hora del dispositivo
//
//Para esto, según el nivel de humedad dibuja una de 3 imágenes cuya información se encuentra
//almacenada dentro de testimg.h
//Una vez dibujada la imagen correcta se superpone la hora
void printMenu_Estado(){
	if(humedad > humedad_maxima){
		ST7735_DrawImage(0, 0, ST7735_WIDTH, ST7735_HEIGHT, (uint16_t*)DEMASIADA_AGUA);
	}
	else if(humedad > humedad_minima){
		ST7735_DrawImage(0, 0, ST7735_WIDTH, ST7735_HEIGHT, (uint16_t*)BIEN_AGUA);
	}
	else{
		ST7735_DrawImage(0, 0, ST7735_WIDTH, ST7735_HEIGHT, (uint16_t*)POCA_AGUA);
	}
	printTime();
}

//Pantalla que muestra el modo de funcionamiento actual del sistema
//
//Para esto llena la imagen del color base (cián) y dibuja un rectángulo blanco sobre
//el que escribe el nombre del modo en el que se encuentra actualmente
//
//TODO: Incluir debajo un aviso de que para cambiar el modo debe pulsar el botón de la derecha
void printMenu_ModoActual(){
	ST7735_FillScreenFast(ST7735_CYAN);
	ST7735_FillRectangleFast(5, 5, ST7735_WIDTH-10, 40, ST7735_WHITE);
	switch(modo){
	case Manual:
		ST7735_WriteString(31, 16, "Manual", Font_11x18, ST7735_BLACK, ST7735_WHITE);
		break;
	case Automatico_Humedad:
		ST7735_WriteString(9, 6, "Automatico", Font_11x18, ST7735_BLACK, ST7735_WHITE);
		ST7735_WriteString(25, 26, "Humedad", Font_11x18, ST7735_BLACK, ST7735_WHITE);
		break;
	case Automatico_Tiempo:
		ST7735_WriteString(9, 6, "Automatico", Font_11x18, ST7735_BLACK, ST7735_WHITE);
		ST7735_WriteString(31, 26, "Tiempo", Font_11x18, ST7735_BLACK, ST7735_WHITE);
		break;
	default:
		ST7735_WriteString(36, 16, "Error", Font_11x18, ST7735_BLACK, ST7735_WHITE);
		break;
	}
}

//Pantalla que muestra los distintos modos de funcionamiento del sistema
//
//Para esto llena la imagen del color base (cián) y dibuja tres rectángulos blanco sobre
//los cuales escribe el nombre de los distintos modos en los que opera el sistema
void printMenu_CambioModo(){
	ST7735_FillScreenFast(ST7735_CYAN);
	ST7735_FillRectangleFast(5, 5, ST7735_WIDTH-10, 48, ST7735_WHITE);
	ST7735_FillRectangleFast(5, 56, ST7735_WIDTH-10, 48, ST7735_WHITE);
	ST7735_FillRectangleFast(5, 107, ST7735_WIDTH-10, 48, ST7735_WHITE);

	ST7735_WriteString(31, 20, "Manual", Font_11x18, ST7735_BLACK, ST7735_WHITE);

	ST7735_WriteString(9, 61, "Automatico", Font_11x18, ST7735_BLACK, ST7735_WHITE);
	ST7735_WriteString(25, 81, "Humedad", Font_11x18, ST7735_BLACK, ST7735_WHITE);

	ST7735_WriteString(9, 112, "Automatico", Font_11x18, ST7735_BLACK, ST7735_WHITE);
	ST7735_WriteString(31, 132, "Tiempo", Font_11x18, ST7735_BLACK, ST7735_WHITE);
}

/*Funciones auxiliares*/

//Dibuja los lados de un rectángulo verde con la intención de que marque al usuario la opción
//que está eligiendo
void printSeleccion(uint8_t altura){
	for(int x = 5; x < ST7735_WIDTH-5; x++) {
		ST7735_DrawPixel(x, 5+(altura*51), ST7735_GREEN);
		ST7735_DrawPixel(x, 6+(altura*51), ST7735_GREEN);
		ST7735_DrawPixel(x, 5+48+(altura*51), ST7735_GREEN);
		ST7735_DrawPixel(x, 4+48+(altura*51), ST7735_GREEN);
	}

	for(int y = 5+(altura*51); y < 5+48+(altura*51); y++) {
		ST7735_DrawPixel(5, y, ST7735_GREEN);
		ST7735_DrawPixel(6, y, ST7735_GREEN);
		ST7735_DrawPixel(ST7735_WIDTH-5, y, ST7735_GREEN);
		ST7735_DrawPixel(ST7735_WIDTH-6, y, ST7735_GREEN);
	}
}

//Dibuja la hora de inicio y de fin de una alarma determinada
void printAlarma(RTC_TimeTypeDef horaON, RTC_TimeTypeDef horaOFF, uint8_t altura){
	ST7735_FillRectangleFast(5, 5+51*altura, ST7735_WIDTH-10, 48, ST7735_WHITE);
	char alarma[12];
	sprintf(alarma,"ON:  %02d:%02d",horaON.Hours,horaON.Minutes);
	ST7735_WriteString(10, 10+51*altura, alarma, Font_11x18, ST7735_BLACK, ST7735_WHITE);
	sprintf(alarma,"OFF: %02d:%02d",horaOFF.Hours,horaOFF.Minutes);
	ST7735_WriteString(10, 30+51*altura, alarma, Font_11x18, ST7735_BLACK, ST7735_WHITE);
}

//Dibuja el botón de creación de alarmas
void printCrearAlarma(uint8_t altura){
	ST7735_FillRectangleFast(5, 5+51*altura, ST7735_WIDTH-10, 48, ST7735_WHITE);
	for(uint16_t x = 0; x <= 17; x++){
		for(uint16_t y = 0; y <= 17; y++){
			if(x*x+y*y < 289){
				if(x < 3 && y < 12){
					continue;
				}
				if(x < 12 && y < 3){
					continue;
				}
				ST7735_DrawPixel(64+x, (29+51*altura)+y, ST7735_GREEN);
				ST7735_DrawPixel(64+x, (29+51*altura)-y, ST7735_GREEN);
				ST7735_DrawPixel(64-x, (29+51*altura)+y, ST7735_GREEN);
				ST7735_DrawPixel(64-x, (29+51*altura)-y, ST7735_GREEN);
			}
		}
	}
}

//Dibuja el botón de "OK"
void printOK(uint8_t altura){
	ST7735_FillRectangleFast(5, 5+51*altura, ST7735_WIDTH-10, 48, ST7735_WHITE);
	ST7735_WriteString(48, 16+51*altura, "OK", Font_16x26, ST7735_BLACK, ST7735_WHITE);
}

//Dibuja el botón de cambiar hora
void printCambiarHora(uint8_t altura){
	ST7735_FillRectangleFast(5, 5+51*altura, ST7735_WIDTH-10, 48, ST7735_WHITE);
	ST7735_WriteString(25, 10+51*altura, "Cambiar", Font_11x18, ST7735_BLACK, ST7735_WHITE);
	ST7735_WriteString(42, 30+51*altura, "Hora", Font_11x18, ST7735_BLACK, ST7735_WHITE);
}

//Dibuja la hora actual del sistema en la esquina superior derecha
void printTime(){
	char hora[6];
	sprintf(hora,"%02d:%02d",sTime.Hours,sTime.Minutes);
	ST7735_WriteString(92, 0, hora, Font_7x10, ST7735_BLACK, ST7735_WHITE);
}

/***************************
 *GESTIÓN DE INTERRUPCIONES*
 ***************************/

//Interrupción de botones
void HAL_GPIO_EXTI_Callback(uint16_t GPIO_Pin)
{
	static uint32_t last_press = 0;
	if(HAL_GetTick() < last_press){ //Debouncer
		return;
	}

	if(GPIO_Pin==GPIO_PIN_0){
		AbrirValvula();
	}
	else if(GPIO_Pin==GPIO_PIN_2){
		CerrarValvula();
	}
	else if(GPIO_Pin==GPIO_PIN_3){
		pantalla = Modo_Actual;
		update_screen = 1;__HAL_TIM_SET_COUNTER(&htim3, 0);
	}
	last_press = HAL_GetTick()+50;
}

//Interrupción de RTC
//
//Según la flag "isTimeToTurnOn", enciende o apaga la electroválvula
//y la invierte para la próxima alarma.
//Luego llama a la función "nextAlarma()" para generar la siguiente interrupción
void HAL_RTC_AlarmAEventCallback(RTC_HandleTypeDef *hrtc)
{
	HAL_GPIO_WritePin(GPIOD,GPIO_PIN_15, isTimeToTurnOn);
	isTimeToTurnOn ^= isTimeToTurnOn;
	nextAlarma();
}

//Interrupción de temporizador
//
//Si está en la pantalla estado, usa esta interrupción para actualizar la hora mostrada en la pantalla
//De lo contrario, si salta, significa que el usuario lleva mucho tiempo sin interactuar con el menú y
//regresa a la pantalla de estado.
void HAL_TIM_PeriodElapsedCallback(TIM_HandleTypeDef* htim){
	if (htim->Instance == TIM3){
		if(pantalla == Estado)
		{
			HAL_RTC_GetTime(&hrtc, &sTime, RTC_FORMAT_BIN);
			HAL_RTC_GetDate(&hrtc, &sDate, RTC_FORMAT_BIN); //La fecha no se usa
			//Linea añadida porque para que HAL_RTC_GetTime funcione correctamente, es necesario
			//Llamar a HAL_RTC_GetDate despues
			printTime();
		}
		//Si está en modo debug, deshabilita el regreso a la pantalla de estado por temporizador
		#ifndef __DEBUG__
		else
		{
			pantalla = Estado;
			update_screen = 1;__HAL_TIM_SET_COUNTER(&htim3, 0);
			HAL_NVIC_EnableIRQ(EXTI3_IRQn);
			if(modo == Manual){
				HAL_NVIC_EnableIRQ(EXTI0_IRQn);
				HAL_NVIC_EnableIRQ(EXTI2_IRQn);
			}
			__HAL_TIM_SET_COUNTER(&htim3, 0);
		}
		#endif
	}
}

//Crea la siguiente interrupción del RTC
//
//Para esto cuenta con el flag "isTimeToTurnOn" que indica si en la siguiente
//alarma se debe encender o apagar la bomba, en función de esto toma la siguiente
//hora del vector de horas de encendido o del vector de horas de apagado
//El índice "siguiente_alarma" se incrementa en 1 cada vez que se genera una
//interrupción de apagado de la bomba, ya que el apagado se considera el fin de
//cada ciclo de alarmas
void nextAlarma(){

	RTC_AlarmTypeDef sAlarm = {0};

	if(isTimeToTurnOn)
	{
		sAlarm.AlarmTime.Hours = alarmasON[siguiente_alarma].Hours;
		sAlarm.AlarmTime.Minutes = alarmasON[siguiente_alarma].Minutes;
	}
	else
	{
		sAlarm.AlarmTime.Hours = alarmasOFF[siguiente_alarma].Hours;
		sAlarm.AlarmTime.Minutes = alarmasOFF[siguiente_alarma].Minutes;
		siguiente_alarma = (siguiente_alarma+1)%num_alarmas;
	}

	sAlarm.AlarmTime.Seconds = 0x0;
	sAlarm.AlarmTime.SubSeconds = 0x0;
	sAlarm.AlarmTime.DayLightSaving = RTC_DAYLIGHTSAVING_NONE;
	sAlarm.AlarmTime.StoreOperation = RTC_STOREOPERATION_RESET;
	sAlarm.AlarmMask = RTC_ALARMMASK_NONE;
	sAlarm.AlarmSubSecondMask = RTC_ALARMSUBSECONDMASK_ALL;
	sAlarm.AlarmDateWeekDaySel = RTC_ALARMDATEWEEKDAYSEL_DATE;
	sAlarm.AlarmDateWeekDay = 0x31;
	sAlarm.Alarm = RTC_ALARM_A;

	if (HAL_RTC_SetAlarm_IT(&hrtc, &sAlarm, RTC_FORMAT_BIN) != HAL_OK)
	{
		Error_Handler();
	}
}
/* USER CODE END 4 */

void Error_Handler(void)
{
  __disable_irq();
  while (1)
  {
  }
}
